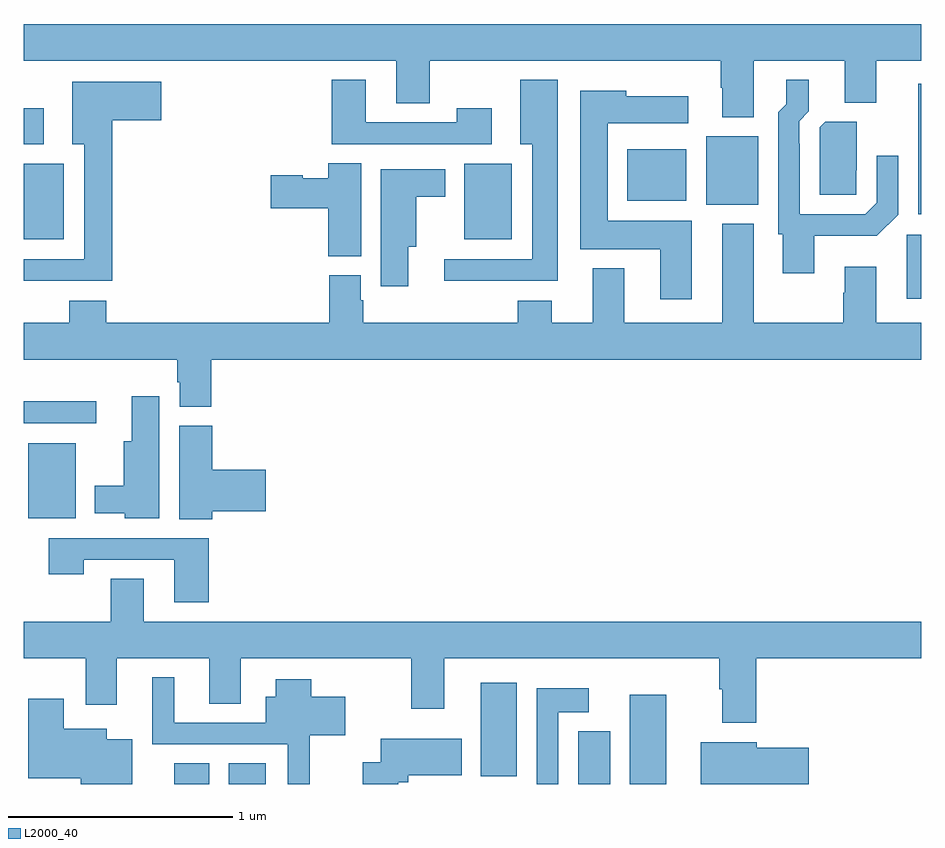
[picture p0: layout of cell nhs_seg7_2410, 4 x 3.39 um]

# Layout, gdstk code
import gdstk
lib = gdstk.Library(unit=1e-6, precision=1e-09)
def R(c, l, rs):  # rectangles x0, y0, x1, y1
    for r in rs: c.add(gdstk.rectangle(r[:2], r[2:], *l))
def P(c, l, *ps):  # polygons
    for p in ps: c.add(gdstk.Polygon(p, *l))
L2000_40 = (2000, 40)

nhs_seg7_2410 = lib.new_cell('nhs_seg7_2410')
R(nhs_seg7_2410, L2000_40, [(267.671,1056,267.826,1056.092), (267.914,1056,268.078,1056.092), (269.471,1056,269.614,1056.235), (269.702,1056,269.863,1056.397), (269.036,1056.035,269.197,1056.451), (267.02,1057.184,267.232,1057.519), (267,1057.608,267.322,1057.706), (270.935,1058.163,271,1058.448), (267,1058.429,267.178,1058.764), (268.964,1058.429,269.176,1058.764), (270.986,1058.54,271,1059.121), (270.041,1058.582,270.274,1058.887), (269.69,1058.6,269.953,1058.83), (267,1058.853,267.088,1059.013)])
P(nhs_seg7_2410, L2000_40, [(270.253,1059.224),(270.659,1059.224),(270.659,1059.037),(270.799,1059.037),(270.799,1059.224),(271,1059.224),(271,1059.388),(267,1059.388),(267,1059.224),(268.661,1059.224),(268.661,1059.034),(268.809,1059.034),(268.809,1059.224),(270.106,1059.224),(270.106,1059.104),(270.113,1059.104),(270.113,1058.972),(270.253,1058.972)],
  [(270.523,1058.444),(270.803,1058.444),(270.897,1058.538),(270.897,1058.8),(270.801,1058.8),(270.801,1058.592),(270.75,1058.541),(270.459,1058.541),(270.459,1058.855),(270.456,1058.855),(270.456,1058.955),(270.499,1058.998),(270.499,1059.139),(270.398,1059.139),(270.398,1059.03),(270.363,1058.995),(270.363,1058.451),(270.383,1058.451),(270.383,1058.277),(270.523,1058.277)],
  [(269.38,1059.139),(269.213,1059.139),(269.213,1058.852),(269.267,1058.852),(269.267,1058.34),(268.875,1058.34),(268.875,1058.243),(269.38,1058.243)],
  [(269.086,1059.013),(268.93,1059.013),(268.93,1058.949),(268.525,1058.949),(268.525,1059.139),(268.373,1059.139),(268.373,1058.853),(269.086,1058.853)],
  [(267.395,1058.96),(267.613,1058.96),(267.613,1059.13),(267.215,1059.13),(267.215,1058.852),(267.269,1058.852),(267.269,1058.34),(267,1058.34),(267,1058.243),(267.395,1058.243)],
  [(269.977,1058.512),(269.602,1058.512),(269.602,1058.945),(269.962,1058.945),(269.962,1059.067),(269.685,1059.067),(269.685,1059.091),(269.48,1059.091),(269.48,1058.384),(269.837,1058.384),(269.837,1058.16),(269.977,1058.16)],
  [(270.711,1058.737),(270.712,1058.737),(270.712,1058.952),(270.573,1058.952),(270.549,1058.928),(270.549,1058.626),(270.711,1058.626)],
  [(268.504,1058.768),(268.358,1058.768),(268.358,1058.701),(268.244,1058.701),(268.244,1058.714),(268.101,1058.714),(268.101,1058.567),(268.358,1058.567),(268.358,1058.353),(268.504,1058.353)],
  [(268.714,1058.396),(268.75,1058.396),(268.75,1058.618),(268.879,1058.618),(268.879,1058.74),(268.592,1058.74),(268.592,1058.22),(268.714,1058.22)],
  [(267.836,1057.892),(271,1057.892),(271,1058.056),(270.799,1058.056),(270.799,1058.305),(270.659,1058.305),(270.659,1058.189),(270.652,1058.189),(270.652,1058.056),(270.253,1058.056),(270.253,1058.497),(270.113,1058.497),(270.113,1058.056),(269.677,1058.056),(269.677,1058.299),(269.537,1058.299),(269.537,1058.056),(269.353,1058.056),(269.353,1058.155),(269.201,1058.155),(269.201,1058.056),(268.514,1058.056),(268.514,1058.157),(268.501,1058.157),(268.501,1058.268),(268.361,1058.268),(268.361,1058.056),(267.368,1058.056),(267.368,1058.155),(267.203,1058.155),(267.203,1058.056),(267,1058.056),(267,1057.892),(267.683,1057.892),(267.683,1057.791),(267.695,1057.791),(267.695,1057.681),(267.836,1057.681)],
  [(267.604,1057.729),(267.482,1057.729),(267.482,1057.528),(267.446,1057.528),(267.446,1057.33),(267.317,1057.33),(267.317,1057.208),(267.45,1057.208),(267.45,1057.184),(267.604,1057.184)],
  [(267.839,1057.217),(268.078,1057.217),(268.078,1057.4),(267.839,1057.4),(267.839,1057.596),(267.692,1057.596),(267.692,1057.18),(267.839,1057.18)],
  [(267.824,1057.095),(267.111,1057.095),(267.111,1056.936),(267.267,1056.936),(267.267,1056.999),(267.671,1056.999),(267.671,1056.81),(267.824,1056.81)],
  [(267.535,1056.914),(267.388,1056.914),(267.388,1056.724),(267,1056.724),(267,1056.56),(267.275,1056.56),(267.275,1056.354),(267.415,1056.354),(267.415,1056.56),(267.827,1056.56),(267.827,1056.358),(267.967,1056.358),(267.967,1056.56),(268.726,1056.56),(268.726,1056.336),(268.873,1056.336),(268.873,1056.56),(270.101,1056.56),(270.101,1056.422),(270.113,1056.422),(270.113,1056.272),(270.266,1056.272),(270.266,1056.56),(271,1056.56),(271,1056.724),(267.535,1056.724)],
  [(268.275,1056.218),(268.432,1056.218),(268.432,1056.388),(268.281,1056.388),(268.281,1056.466),(268.124,1056.466),(268.124,1056.388),(268.079,1056.388),(268.079,1056.273),(267.67,1056.273),(267.67,1056.475),(267.572,1056.475),(267.572,1056.177),(268.176,1056.177),(268.176,1056),(268.275,1056)],
  [(269.382,1056.32),(269.518,1056.32),(269.518,1056.427),(269.286,1056.427),(269.286,1056),(269.382,1056)],
  [(267.484,1056.199),(267.37,1056.199),(267.37,1056.247),(267.178,1056.247),(267.178,1056.379),(267.02,1056.379),(267.02,1056.026),(267.254,1056.026),(267.254,1056),(267.484,1056)],
  [(268.669,1056.008),(268.714,1056.008),(268.714,1056.038),(268.951,1056.038),(268.951,1056.202),(268.592,1056.202),(268.592,1056.097),(268.511,1056.097),(268.511,1056),(268.669,1056)],
  [(270.499,1056.162),(270.268,1056.162),(270.268,1056.187),(270.017,1056.187),(270.017,1056),(270.499,1056)])

lib.write_gds('nhs_seg7_2410.gds')
